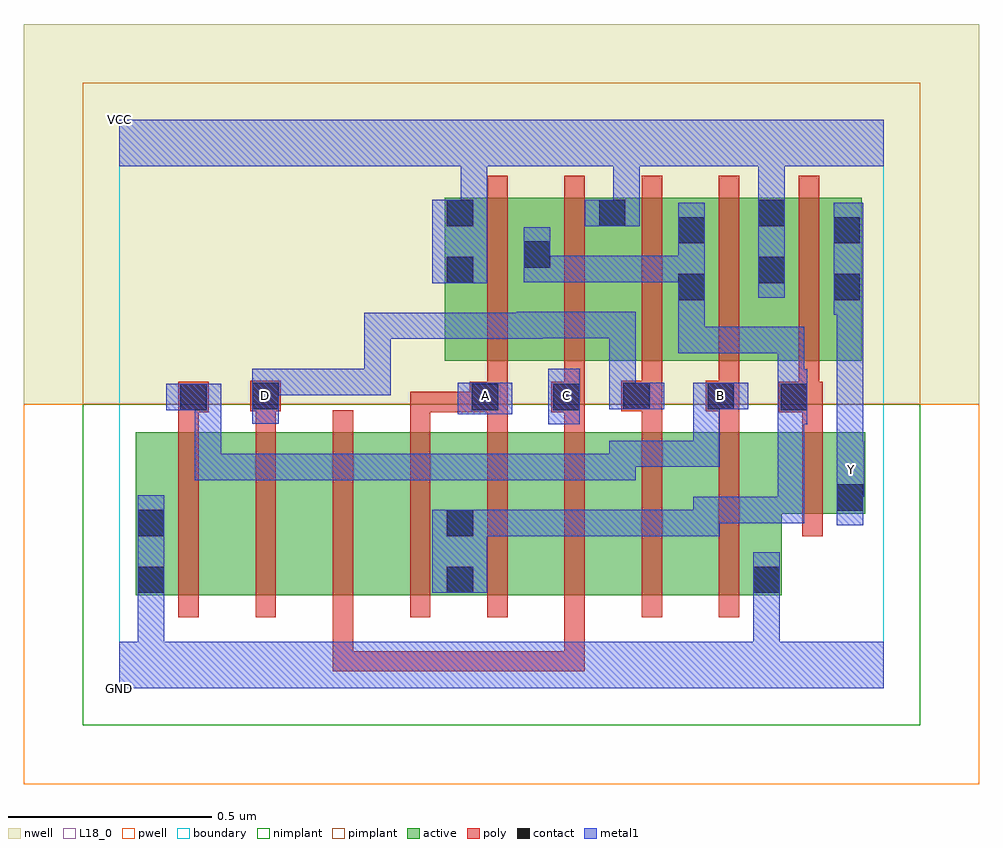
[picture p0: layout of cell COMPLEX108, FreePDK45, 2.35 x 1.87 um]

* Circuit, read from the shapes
.subckt COMPLEX108 A B C D GND VCC Y
M1 n1 B GND VSUBS nfet w=0.4u l=0.05u
M2 n2 D n1 VSUBS nfet w=0.4u l=0.05u
M3 n3 C n2 VSUBS nfet w=0.4u l=0.05u
M4 n4 A n3 VSUBS nfet w=0.4u l=0.05u
M5 n5 A n4 VSUBS nfet w=0.4u l=0.05u
M6 n6 C n5 VSUBS nfet w=0.4u l=0.05u
M7 n7 D n6 VSUBS nfet w=0.4u l=0.05u
M8 GND B n7 VSUBS nfet w=0.4u l=0.05u
M9 Y n4 GND VSUBS nfet w=0.2u l=0.05u
M10 n4 A VCC n8 pfet w=0.4u l=0.05u
M11 VCC C n4 n8 pfet w=0.4u l=0.05u
M12 n4 D VCC n8 pfet w=0.4u l=0.05u
M13 VCC B n4 n8 pfet w=0.4u l=0.05u
M14 Y n4 VCC n8 pfet w=0.4u l=0.05u
.ends

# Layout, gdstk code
import gdstk
lib = gdstk.Library(unit=1e-6, precision=1e-09)
def R(c, l, rs):  # rectangles x0, y0, x1, y1
    for r in rs: c.add(gdstk.rectangle(r[:2], r[2:], *l))
def A(c, l, x, y, w, h, nx, ny, dx, dy):  # array of equal rectangles
    R(c, l, [(x+i*dx, y+j*dy, x+i*dx+w, y+j*dy+h) for i in range(nx) for j in range(ny)])
active = (1, 0)
pwell = (2, 0)
nwell = (3, 0)
nimplant = (4, 0)
pimplant = (5, 0)
poly = (9, 0)
contact = (10, 0)
metal1 = (11, 0)
L18_0 = (18, 0)
boundary = (235, 0)

complex108 = lib.new_cell('COMPLEX108')
R(complex108, active, [(0.04,0.23,0.265,0.63), (0.04,0.23,0.115,0.63), (0.265,0.23,0.455,0.63), (0.455,0.23,0.645,0.63), (0.645,0.23,0.875,0.63), (0.8,0.23,1.025,0.63), (0.8,0.23,0.875,0.617), (1.025,0.23,1.215,0.63), (1.215,0.23,1.405,0.63), (1.405,0.23,1.63,0.63), (1.555,0.23,1.63,0.527), (1.555,0.43,1.835,0.63), (1.76,0.43,1.835,0.63), (0.8,0.807,0.875,1.207), (0.8,0.807,1.065,1.207), (0.99,0.807,1.25,1.207), (1.175,0.807,1.445,1.207), (1.37,0.807,1.642,1.207), (1.567,0.807,1.827,1.207), (1.752,0.807,1.827,1.2), (0.99,0.907,1.065,1.2), (1.175,0.907,1.25,1.207), (1.37,0.907,1.445,1.2), (1.567,0.907,1.642,1.207)])
R(complex108, pwell, [(-0.235,-0.235,2.115,0.7)])
R(complex108, nwell, [(-0.235,0.7,2.115,1.635)])
R(complex108, nimplant, [(-0.09,-0.09,1.97,0.7)])
R(complex108, pimplant, [(-0.09,0.7,1.97,1.49)])
A(complex108, poly, 0.145, 0.175, 0.05, 0.51, 8, 1, 0.19, 0)
A(complex108, poly, 0.715, 0.635, 0.05, 0.095, 3, 1, 0.19, 0)
A(complex108, poly, 0.905, 0.752, 0.05, 0.51, 4, 1, 0.19, 0)
R(complex108, poly, [(0.525,0.042,0.575,0.225), (0.525,0.042,0.575,0.092), (0.525,0.042,0.575,0.092), (0.525,0.042,0.575,0.092), (0.525,0.042,0.78,0.092), (0.73,0.042,0.78,0.092), (0.73,0.042,0.78,0.092), (0.73,0.042,0.78,0.092), (0.73,0.042,0.98,0.092), (0.93,0.042,0.98,0.092), (0.93,0.042,1.145,0.092), (1.095,0.042,1.145,0.225), (1.095,0.042,1.145,0.092), (1.095,0.042,1.145,0.092), (1.095,0.042,1.145,0.092), (1.68,0.375,1.73,0.685), (0.145,0.635,0.195,0.73), (0.335,0.635,0.385,0.732), (1.285,0.635,1.335,0.732), (1.475,0.635,1.525,0.732), (1.68,0.635,1.73,0.73), (0.145,0.68,0.22,0.755), (0.715,0.68,0.765,0.73), (0.715,0.68,0.912,0.73), (0.862,0.68,0.912,0.73), (0.862,0.68,0.912,0.73), (0.862,0.68,0.955,0.755), (1.062,0.68,1.145,0.755), (1.622,0.68,1.73,0.755), (0.322,0.682,0.397,0.757), (1.235,0.682,1.335,0.757), (1.442,0.682,1.525,0.757), (0.905,0.705,0.955,0.802), (1.095,0.705,1.145,0.802), (1.672,0.705,1.722,0.802), (1.285,0.707,1.335,0.802), (1.475,0.707,1.525,0.802), (1.672,0.752,1.722,1.262)])
R(complex108, contact, [(0.045,0.235,0.11,0.3), (0.805,0.235,0.87,0.3), (1.56,0.235,1.625,0.3), (0.045,0.375,0.11,0.44), (0.805,0.375,0.87,0.44), (1.765,0.437,1.83,0.502), (0.15,0.685,0.215,0.75), (0.867,0.685,0.932,0.75), (1.067,0.685,1.132,0.75), (1.627,0.685,1.692,0.75), (0.327,0.687,0.392,0.752), (1.24,0.687,1.305,0.752), (1.447,0.687,1.512,0.752), (1.375,0.955,1.44,1.02), (1.757,0.955,1.822,1.02), (0.805,0.997,0.87,1.062), (1.572,0.997,1.637,1.062), (0.995,1.035,1.06,1.1), (1.375,1.095,1.44,1.16), (1.757,1.095,1.822,1.16), (0.805,1.137,0.87,1.202), (1.18,1.137,1.245,1.202), (1.572,1.137,1.637,1.202)])
R(complex108, metal1, [(0,0,1.88,0.115), (0.045,0.05,0.11,0.265), (1.56,0.05,1.625,0.115), (1.56,0.05,1.625,0.115), (1.56,0.05,1.625,0.265), (0.045,0.2,0.11,0.265), (0.045,0.2,0.11,0.265), (0.045,0.2,0.11,0.475), (1.56,0.2,1.625,0.335), (0.77,0.235,0.905,0.44), (0.84,0.375,0.905,0.44), (0.84,0.375,0.905,0.44), (0.84,0.375,1.042,0.44), (0.977,0.375,1.042,0.44), (0.977,0.375,1.042,0.44), (0.977,0.375,1.042,0.44), (0.977,0.375,1.197,0.44), (1.132,0.375,1.197,0.44), (1.132,0.375,1.34,0.44), (1.275,0.375,1.34,0.44), (1.275,0.375,1.477,0.44), (1.412,0.375,1.477,0.44), (1.412,0.375,1.477,0.44), (1.412,0.375,1.477,0.472), (1.765,0.402,1.83,0.537), (1.412,0.407,1.685,0.472), (1.62,0.407,1.685,0.472), (1.62,0.407,1.685,0.472), (1.62,0.407,1.685,0.472), (1.62,0.407,1.685,0.715), (1.765,0.472,1.83,0.537), (1.765,0.472,1.832,0.607), (0.185,0.512,0.25,0.577), (0.185,0.512,0.392,0.577), (0.185,0.512,0.25,0.75), (0.327,0.512,0.392,0.577), (0.327,0.512,0.392,0.577), (0.327,0.512,0.392,0.577), (0.327,0.512,0.53,0.577), (0.465,0.512,0.53,0.577), (0.465,0.512,0.53,0.577), (0.465,0.512,0.53,0.577), (0.465,0.512,0.667,0.577), (0.602,0.512,0.667,0.577), (0.602,0.512,0.805,0.577), (0.74,0.512,0.805,0.577), (0.74,0.512,0.805,0.577), (0.74,0.512,0.805,0.577), (0.74,0.512,1.06,0.577), (0.995,0.512,1.06,0.577), (0.995,0.512,1.06,0.577), (0.995,0.512,1.06,0.577), (0.995,0.512,1.27,0.577), (1.205,0.512,1.27,0.577), (1.205,0.512,1.27,0.577), (1.205,0.512,1.27,0.61), (1.765,0.542,1.83,0.985), (1.205,0.545,1.477,0.61), (1.412,0.545,1.477,0.61), (1.412,0.545,1.477,0.752), (1.055,0.65,1.132,0.787), (1.62,0.65,1.685,0.715), (1.62,0.65,1.692,0.715), (1.62,0.65,1.685,0.89), (1.627,0.65,1.692,0.785), (0.327,0.652,0.392,0.787), (0.832,0.675,0.967,0.752), (0.115,0.685,0.25,0.75), (0.185,0.685,0.25,0.75), (0.185,0.685,0.25,0.75), (1.205,0.687,1.27,0.752), (1.205,0.687,1.27,0.752), (1.205,0.687,1.27,0.927), (1.205,0.687,1.34,0.752), (1.412,0.687,1.477,0.752), (1.412,0.687,1.477,0.752), (1.412,0.687,1.547,0.752), (0.327,0.722,0.392,0.787), (0.327,0.722,0.392,0.787), (0.327,0.722,0.53,0.787), (0.465,0.722,0.53,0.787), (0.465,0.722,0.667,0.787), (0.602,0.722,0.667,0.787), (0.602,0.722,0.667,0.925), (1.375,0.825,1.44,0.89), (1.375,0.825,1.477,0.89), (1.375,0.825,1.44,0.985), (1.412,0.825,1.477,0.89), (1.412,0.825,1.685,0.89), (1.62,0.825,1.685,0.89), (0.602,0.86,0.667,0.925), (0.602,0.86,0.667,0.925), (0.602,0.86,0.667,0.925), (0.602,0.86,0.805,0.925), (0.74,0.86,0.805,0.925), (0.74,0.86,0.805,0.925), (0.74,0.86,0.805,0.925), (0.74,0.86,1.042,0.925), (0.977,0.86,1.042,0.927), (0.977,0.862,1.042,0.927), (0.977,0.862,1.042,0.927), (0.977,0.862,1.27,0.927), (1.205,0.862,1.27,0.927), (1.375,0.92,1.44,1.195), (1.757,0.92,1.83,1.195), (1.572,0.962,1.637,1.237), (0.77,0.997,0.905,1.202), (0.995,1,1.06,1.065), (0.995,1,1.06,1.065), (0.995,1,1.06,1.135), (0.995,1,1.197,1.065), (1.132,1,1.197,1.065), (1.132,1,1.34,1.065), (1.275,1,1.34,1.065), (1.275,1,1.44,1.065), (0.84,1.137,0.905,1.35), (1.145,1.137,1.28,1.202), (1.215,1.137,1.28,1.35), (1.572,1.172,1.637,1.35), (0,1.285,1.88,1.4)])
R(complex108, L18_0, [(0,0,1.88,0.115), (0.045,0.05,0.11,0.265), (1.56,0.05,1.625,0.115), (1.56,0.05,1.625,0.115), (1.56,0.05,1.625,0.265), (0.045,0.2,0.11,0.265), (0.045,0.2,0.11,0.265), (0.045,0.2,0.11,0.475), (1.56,0.2,1.625,0.335), (1.765,0.402,1.83,0.537), (1.765,0.472,1.83,0.537), (1.765,0.472,1.832,0.607), (1.767,0.507,1.832,0.572), (0.185,0.512,0.25,0.577), (0.185,0.512,0.25,0.75), (0.185,0.512,0.392,0.577), (0.327,0.512,0.392,0.577), (0.327,0.512,0.392,0.577), (0.327,0.512,0.392,0.577), (0.327,0.512,0.53,0.577), (0.465,0.512,0.53,0.577), (0.465,0.512,0.53,0.577), (0.465,0.512,0.53,0.577), (0.465,0.512,0.667,0.577), (0.602,0.512,0.667,0.577), (0.602,0.512,0.805,0.577), (0.74,0.512,0.805,0.577), (0.74,0.512,0.805,0.577), (0.74,0.512,0.805,0.577), (0.74,0.512,1.06,0.577), (0.995,0.512,1.06,0.577), (0.995,0.512,1.06,0.577), (0.995,0.512,1.06,0.577), (0.995,0.512,1.27,0.577), (1.205,0.512,1.27,0.577), (1.205,0.512,1.27,0.577), (1.205,0.512,1.27,0.61), (1.765,0.542,1.83,0.985), (1.205,0.545,1.477,0.61), (1.412,0.545,1.477,0.61), (1.412,0.545,1.477,0.752), (1.055,0.65,1.132,0.787), (0.327,0.652,0.392,0.787), (0.832,0.675,0.967,0.752), (0.115,0.685,0.25,0.75), (0.185,0.685,0.25,0.75), (0.185,0.685,0.25,0.75), (0.327,0.687,0.392,0.752), (0.867,0.687,0.932,0.752), (1.067,0.687,1.132,0.752), (1.205,0.687,1.27,0.752), (1.205,0.687,1.27,0.752), (1.205,0.687,1.34,0.752), (1.205,0.687,1.27,0.927), (1.412,0.687,1.477,0.752), (1.412,0.687,1.477,0.752), (1.412,0.687,1.547,0.752), (1.447,0.687,1.512,0.752), (0.327,0.722,0.392,0.787), (0.327,0.722,0.392,0.787), (0.327,0.722,0.53,0.787), (0.465,0.722,0.53,0.787), (0.465,0.722,0.667,0.787), (0.602,0.722,0.667,0.787), (0.602,0.722,0.667,0.925), (0.602,0.86,0.667,0.925), (0.602,0.86,0.667,0.925), (0.602,0.86,0.667,0.925), (0.602,0.86,0.805,0.925), (0.74,0.86,0.805,0.925), (0.74,0.86,0.805,0.925), (0.74,0.86,0.805,0.925), (0.74,0.86,1.042,0.925), (0.977,0.86,1.042,0.927), (0.977,0.862,1.042,0.927), (0.977,0.862,1.042,0.927), (0.977,0.862,1.27,0.927), (1.205,0.862,1.27,0.927), (1.757,0.92,1.83,1.195), (1.572,0.962,1.637,1.237), (0.77,0.997,0.905,1.202), (0.84,1.137,0.905,1.35), (1.145,1.137,1.28,1.202), (1.215,1.137,1.28,1.35), (1.572,1.172,1.637,1.35), (0,1.285,1.88,1.4)])
R(complex108, boundary, [(0,0,1.88,1.4)])
complex108.add(gdstk.Label('A', (0.9,0.72), layer=11, texttype=0))
complex108.add(gdstk.Label('B', (1.48,0.72), layer=11, texttype=0))
complex108.add(gdstk.Label('C', (1.1,0.72), layer=11, texttype=0))
complex108.add(gdstk.Label('D', (0.36,0.72), layer=11, texttype=0))
complex108.add(gdstk.Label('Y', (1.8,0.54), layer=11, texttype=0))
complex108.add(gdstk.Label('VCC', (0,1.4), layer=11, texttype=0))
complex108.add(gdstk.Label('GND', (0,0), layer=11, texttype=0))

lib.write_gds('COMPLEX108.gds')
